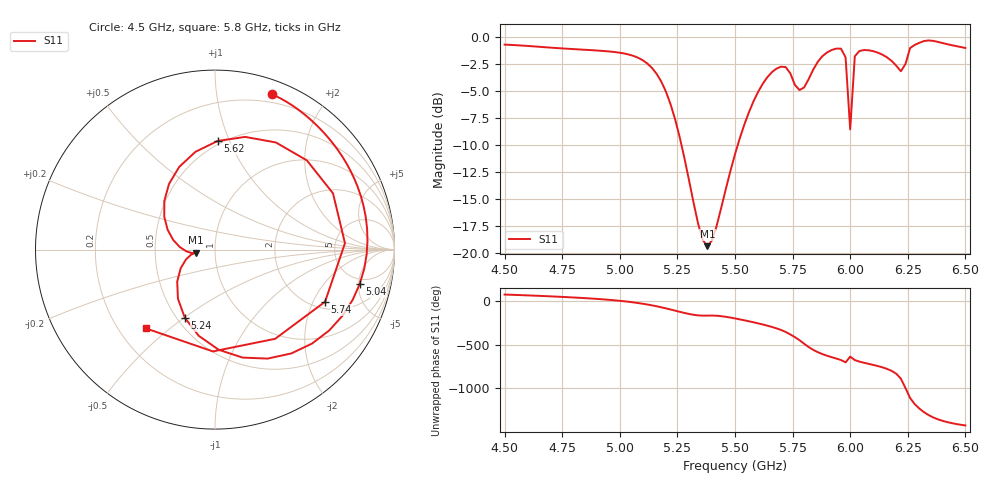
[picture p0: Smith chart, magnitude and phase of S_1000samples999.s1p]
! TOUCHSTONE file generated by CST MICROWAVE STUDIO
! Date and time: Sun Oct 30 01:20:00 2022
! Project name: L.cst
! Parameters = {Di=1.27; Epsilon_r=1.56; InnerDiameter=1.27; Length=2; Lf=10; Lg=60; OuterConductorThickness=0.2921; OuterDiameter=3.6; Wf=3; Wp=41.2; de=1.5; df=6.8; g=0.8; gx=2.98016; gy=1.4181; h=2.34; hf=1.524; px=9.64725; py=14.1383; w=9.7; wx=6.66709; wy=12.7202}
! Header version: 2018
! Port assignment regex: !\s*Touchstone port\s*([0-9]+)\s*=\s*(CST MWS port|CST DS port)\s*([0-9]+|Zmin|Zmax)\s*\(\"(.*)\"\)(\s*mode\s*([0-9]+))?.*
! Touchstone port assignment:
! Touchstone port 1 = CST MWS port 1 ("")
# GHz S DB R 50
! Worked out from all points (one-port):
!   101 points, 4.5 GHz to 6.5 GHz, reference 50 ohm
!   lowest |S11| = -19.4 dB at 5.38 GHz (marker M1), VSWR 1.24, Z = 40.4 - j1.46 ohm
!   |S11| at or under -10 dB: 5.267 GHz to 5.512 GHz (244.8 MHz wide, 4.54 % of centre)
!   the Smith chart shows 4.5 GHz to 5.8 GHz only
!   S11 on the Smith chart (normalised r, x): 4.5 GHz: 0.12, +1.43; 5.04 GHz: 4.18, -5.15; 5.24 GHz: 0.55, -0.50; 5.62 GHz: 0.47, +0.91; 5.74 GHz: 2.31, -2.48; 5.8 GHz: 0.31, -0.42
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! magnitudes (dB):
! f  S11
! 4.5 GHz  -0.7
! 4.76 GHz  -1.1
! 5 GHz  -1.5
! 5.04 GHz  -1.6
! 5.16 GHz  -3.4
! 5.2 GHz  -5.1
! 5.24 GHz  -7.6
! 5.26 GHz  -9.3
! 5.34 GHz  -17.3
! 5.38 GHz  -19.4
! 5.42 GHz  -17.5
! 5.5 GHz  -10.9
! 5.56 GHz  -7.0
! 5.62 GHz  -4.4
! 5.7 GHz  -2.8
! 5.74 GHz  -3.4
! 5.76 GHz  -4.4
! 5.8 GHz  -4.7
! 5.88 GHz  -1.8
! 5.96 GHz  -1.1
! 5.98 GHz  -1.9
! 6 GHz  -8.6
! 6.02 GHz  -1.8
! 6.12 GHz  -1.5
! 6.22 GHz  -3.2
! 6.26 GHz  -1.0
! 6.34 GHz  -0.3
! 6.5 GHz  -1.0
